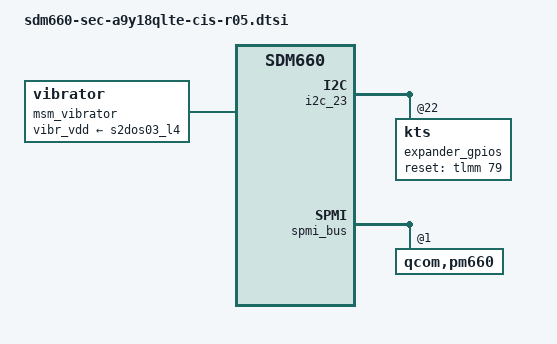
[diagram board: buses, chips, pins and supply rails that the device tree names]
/*
 * Copyright (c) 2017, The Linux Foundation. All rights reserved.
 *
 * This program is free software; you can redistribute it and/or modify
 * it under the terms of the GNU General Public License version 2 and
 * only version 2 as published by the Free Software Foundation.
 *
 * This program is distributed in the hope that it will be useful,
 * but WITHOUT ANY WARRANTY; without even the implied warranty of
 * MERCHANTABILITY or FITNESS FOR A PARTICULAR PURPOSE.  See the
 * GNU General Public License for more details.
 */




#include "sdm660-sec-a9y18qlte-common.dtsi"
#include "sdm660-sec-a9y18qlte-sensor-r01.dtsi"

&soc {
	/* not use ufs */
	/delete-node/ ufsphy@1da7000;
	/delete-node/ ufshc@1da4000;
	/delete-node/ ufsice@1db0000;

	i2c_23: i2c@23 {
		expander_gpios: kts@22 {
			kts,reset-gpio = <&tlmm 79 0>;
		};
	};

        msm_vibrator {
		compatible = "vibrator";
		motor-vdd_type = <1>; /* 0: gpio, 1: pmic */
                vibr_vdd-supply = <&s2dos03_l4>;
	};
};

&spmi_bus {
	qcom,pm660@1 {
	        pm660_haptics: qcom,haptic@c000 {
                        status = "disabled";
	        };
	};
};

&firmware {
	android {
		fstab {
			odm {
				dev = "/dev/block/platform/soc/c0c4000.sdhci/by-name/odm";
			};
			system {
				dev = "/dev/block/platform/soc/c0c4000.sdhci/by-name/system";
			};
			vendor {
				dev = "/dev/block/platform/soc/c0c4000.sdhci/by-name/vendor";
			};
		};
	};
};
